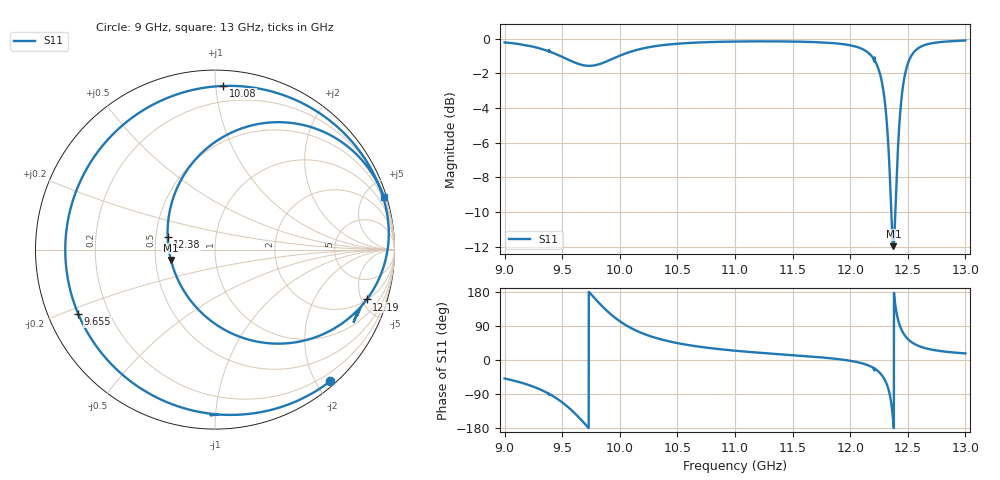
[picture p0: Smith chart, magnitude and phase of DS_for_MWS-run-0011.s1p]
! TOUCHSTONE file generated by CST DESIGN STUDIO
! Date and time: Wed Feb  5 13:35:29 2025
! Project name: C:\Work\MatlabApps\UnitCellOptimizationMatlab\CST\unitcell.cst
! Tree item: Tasks\Sweep1\SPara1\S-Parameters
! Header version: 2024
! Port assignment regex: !\s*Touchstone port\s*([0-9]+)\s*=\s*(CST MWS port|CST DES external port|CST DES block port)\s*(.+)\s* \(\"(.*)\"\)(\s*mode\s*([0-9]+))?.*
! Touchstone port assignment:
! Touchstone port 1 = CST DES external port 1 ("")
# GHz S MA R 50
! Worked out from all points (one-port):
!   4001 points, 9 GHz to 13 GHz, reference 50 ohm
!   lowest |S11| = -12.0 dB at 12.38 GHz (marker M1), VSWR 1.68, Z = 30.1 - j3.72 ohm
!   |S11| at or under -10 dB: 12.35687 GHz to 12.39184 GHz (34.97 MHz wide, 0.283 % of centre)
!   S11 on the Smith chart (normalised r, x): 9 GHz: 0.08, -2.20; 9.655 GHz: 0.09, -0.22; 10.08 GHz: 0.10, +1.05; 12.19 GHz: 2.06, -5.50; 12.38 GHz: 0.58, +0.09; 13 GHz: 0.28, +6.51
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9  0.9744 -48.8
9.264  0.9442 -72.1
9.397  0.9153 -91.2
9.5  0.8855 -111.8
9.577  0.8618 -131.3
9.655  0.8422 -154.8
9.726  0.8344 -178.4
9.797  0.8391 157.8
9.898  0.8627 127.1
10  0.8924 102.3
10.08  0.913 87.2
10.269  0.9461 62.4
10.5  0.966 44.6
11  0.9802 24.5
11.5  0.9801 12.7
12  0.9561 -2.0
12.186  0.8899 -18.2
12.258  0.7924 -34.1
12.313  0.5991 -60.5
12.344  0.4035 -92.0
12.375  0.2524 -166.7
12.384  0.2734 164.9
12.406  0.4186 118.5
12.436  0.6233 86.7
12.5  0.8461 55.4
12.563  0.9213 41.4
12.651  0.9587 31.3
13  0.9872 17.4
